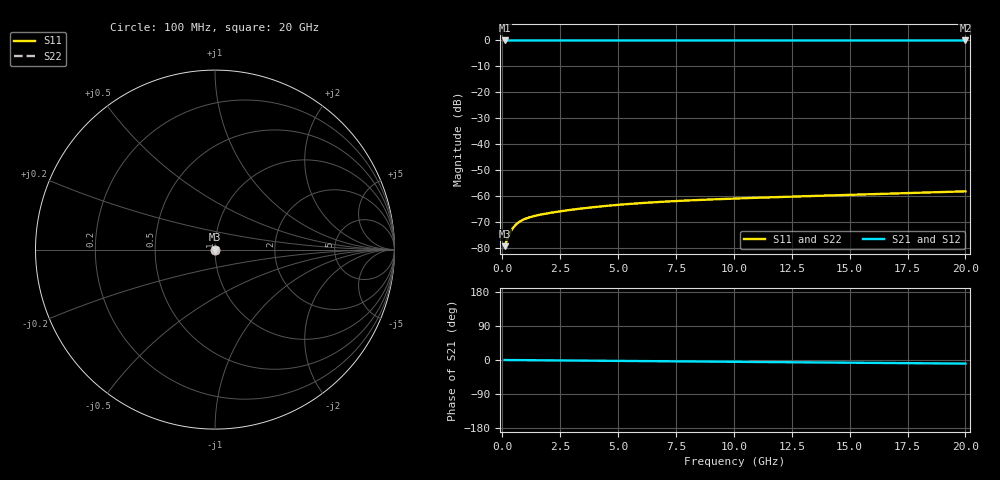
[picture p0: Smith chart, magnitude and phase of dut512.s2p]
! Touchstone file exported from HFSS 2026.1.0
!  File:  C:/ffzhzh/LocalFiles/Ansys_Project_Files/temp_train_TSV_512_1783023324_46388.aedt
!  Generated:  04:16:59 AM Jul  3, 2026
!  Design:  TSV
!  Project:  temp_train_TSV_512_1783023324_46388
! Variables:
!  h_bsmrdl = 2um
!  h_ox = 20um
!  h_rdl = 5um
!  h_sub = 95.87um
!  h_tmrdl = 5um
!  h_tsv = 95.87um
!  h_via = 3um
!  l_bsmrdl = 300um
!  l_sub = 425.72um
!  l_tmrdl = 200um
!  m_sub = 200um
!  pitch = 51.66um
!  r_tsv = 12.86um
!  s_tmrdl = 10um
!  w_bsmrdl = 18um
!  w_sub = 500um
!  w_tmrdl = 12um
!  x_tsv_center1 = 206um
!  x_tsv_center2 = 524um
!  x_tsv_center3 = 736um
!  x_tsv_center4 = 1054um
!  x_tsv_center5 = 1266um
!  x_tsv_center6 = 1584um
# GHz S MA R 50.000000
! Terminal data exported
! Port[1] = TSV1_1_T1
! Port[2] = TSV1_1_T2
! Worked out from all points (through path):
!   200 points, 100 MHz to 20 GHz, reference 50 ohm
!   highest |S21| = 0.00 dB at 100 MHz (marker M1); lowest = 0.0 dB at 20 GHz (marker M2)
!   group delay of S21, straight-line fit = 1.32 ps
!   lowest |S11| = -79.1 dB at 100 MHz (marker M3), VSWR 1.00, Z = 50 + j0.00474 ohm
!   |S11| at or under -10 dB: start of sweep to end of sweep
!   |S22| runs from -79.1 to -58.0 dB; largest |S21 - S12| = 3.1e-15
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0.1  0.0001105 25.4  0.9999 -0.1  0.9999 -0.1  0.0001105 25.4
! Gamma 0 0 0 0
! Port Impedance 50 0 50 0
0.2  0.0001466 38.3  0.9999 -0.1  0.9999 -0.1  0.0001466 38.3
0.3  0.0001874 42.8  0.9999 -0.1  0.9999 -0.1  0.0001874 42.9
0.4  0.0002262 43.7  0.9998 -0.2  0.9998 -0.2  0.0002262 43.7
0.5  0.0002607 43.0  0.9998 -0.2  0.9998 -0.2  0.0002608 43.1
0.6  0.0002905 41.8  0.9998 -0.3  0.9998 -0.3  0.0002906 41.8
0.7  0.000316 40.3  0.9998 -0.3  0.9998 -0.3  0.0003162 40.4
0.8  0.0003378 38.9  0.9997 -0.4  0.9997 -0.4  0.000338 38.9
0.9  0.0003565 37.6  0.9997 -0.4  0.9997 -0.4  0.0003568 37.7
1.2  0.0004002 34.7  0.9997 -0.6  0.9997 -0.6  0.0004005 34.7
1.4  0.0004228 33.3  0.9996 -0.7  0.9996 -0.7  0.0004231 33.3
1.7  0.0004518 31.9  0.9996 -0.8  0.9996 -0.8  0.0004521 31.9
2.5  0.0005175 29.8  0.9996 -1.2  0.9996 -1.2  0.0005178 29.8
3.5  0.0005917 27.7  0.9995 -1.7  0.9995 -1.7  0.0005919 27.7
4.2  0.0006396 26.1  0.9994 -2.0  0.9994 -2.0  0.0006398 26.0
5  0.0006897 23.9  0.9994 -2.4  0.9994 -2.4  0.0006899 23.9
6.8  0.0007843 18.8  0.9993 -3.2  0.9993 -3.2  0.0007848 18.8
8.3  0.000848 14.5  0.9992 -4.0  0.9992 -4.0  0.0008488 14.5
10.1  0.0009132 9.7  0.9991 -4.8  0.9991 -4.8  0.0009142 9.7
13.4  0.00102 1.4  0.999 -6.4  0.999 -6.4  0.001022 1.3
16.7  0.00113 -7.0  0.9989 -7.9  0.9989 -7.9  0.001132 -7.0
20  0.001254 -16.3  0.9987 -9.5  0.9987 -9.5  0.001258 -16.3
